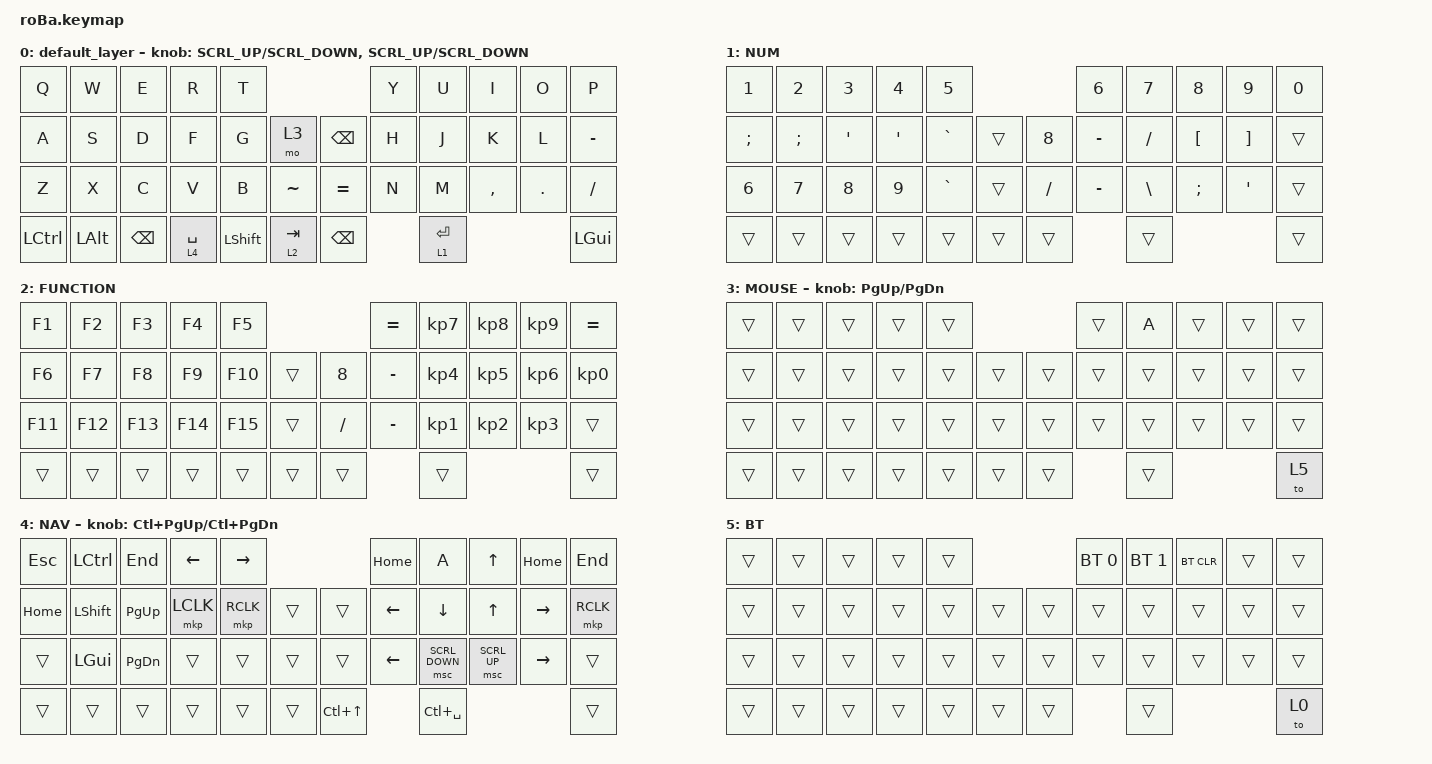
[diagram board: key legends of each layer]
#include <behaviors.dtsi>
#include <dt-bindings/zmk/bt.h>
#include <dt-bindings/zmk/keys.h>
#include <dt-bindings/zmk/pointing.h>

&mt {
    flavor = "balanced";
    quick-tap-ms = <0>;
};

&trackball {
    scroll-layers = <3>;

    // arrows {
    //     layers = <3>;
    //     bindings =
    //         <&kp RIGHT_ARROW>,
    //         <&kp LEFT_ARROW>,
    //         <&kp UP_ARROW>,
    //         <&kp DOWN_ARROW>;

    //     tick = <10>;
    //     wait-ms = <5>;
    //     tap-ms = <5>;
    // };
};

/ {
    combos {
        compatible = "zmk,combos";

        tab {
            bindings = <&kp TAB>;
            key-positions = <11 12>;
        };

        shift_tab {
            bindings = <&kp LS(TAB)>;
            key-positions = <12 13>;
        };

        muhennkann {
            bindings = <&to_layer_0 INT_MUHENKAN>;
            key-positions = <11 10>;
        };

        double_quotation {
            bindings = <&kp DOUBLE_QUOTES>;
            key-positions = <20 21>;
        };

        eq {
            bindings = <&kp EQUAL>;
            key-positions = <24 25>;
        };
    };

    macros {
        to_layer_0: to_layer_0 {
            compatible = "zmk,behavior-macro-one-param";
            #binding-cells = <1>;
            bindings = <&to 0 &macro_param_1to1 &kp MACRO_PLACEHOLDER>;
            label = "TO_LAYER_0";
        };
    };

    behaviors {
        encoder_scroll: encoder_scroll {
            compatible = "zmk,behavior-sensor-rotate-var";
            #sensor-binding-cells = <2>;
            bindings = <&msc>, <&msc>;
        };
    };

    keymap {
        compatible = "zmk,keymap";

        default_layer {
            bindings = <
&kp Q     &kp W         &kp E          &kp R      &kp T                                      &kp Y          &kp U      &kp I            &kp O    &kp P
&kp A     &kp S         &kp D          &kp F      &kp G        &mo 3         &kp BACKSPACE    &kp H          &kp J      &kp K            &kp L    &kp MINUS
&kp Z      &kp X         &kp C          &kp V      &kp B        &kp TILDE     &kp EQUAL        &kp N          &kp M      &kp COMMA        &kp DOT  &kp SLASH
&kp LCTRL  &kp LEFT_ALT  &kp BACKSPACE  &lt 4 SPACE  &kp LEFT_SHIFT  &lt 2 TAB  &kp BACKSPACE  &lt 1 ENTER                             &kp LEFT_GUI
            >;

            sensor-bindings = <&encoder_scroll SCRL_UP SCRL_DOWN &encoder_scroll SCRL_UP SCRL_DOWN>;
        };

        NUM {
            bindings = <
&kp NUMBER_1  &kp NUMBER_2  &kp NUMBER_3  &kp NUMBER_4  &kp NUMBER_5                         &kp NUMBER_6  &kp NUMBER_7  &kp NUMBER_8  &kp NUMBER_9      &kp NUMBER_0
&kp SEMICOLON  &kp SEMICOLON  &kp SQT       &kp SQT       &kp GRAVE  &trans      &kp NUMBER_8  &kp MINUS     &kp SLASH     &kp LEFT_BRACKET &kp RIGHT_BRACKET &trans
&kp NUMBER_6  &kp NUMBER_7  &kp NUMBER_8  &kp NUMBER_9  &kp GRAVE  &trans      &kp SLASH     &kp MINUS     &kp BACKSLASH &kp SEMICOLON    &kp SQT           &trans
&trans         &trans         &trans         &trans         &trans      &trans      &trans         &trans                                                     &trans
            >;
        };

        FUNCTION {
            bindings = <
&kp F1    &kp F2    &kp F3    &kp F4    &kp F5                       &kp EQUAL  &kp KP_NUMBER_7  &kp KP_NUMBER_8  &kp KP_NUMBER_9  &kp EQUAL
&kp F6    &kp F7    &kp F8    &kp F9    &kp F10  &trans      &kp NUMBER_8  &kp MINUS  &kp KP_NUMBER_4  &kp KP_NUMBER_5  &kp KP_NUMBER_6  &kp KP_NUMBER_0
&kp F11   &kp F12   &kp F13   &kp F14   &kp F15  &trans      &kp SLASH     &kp MINUS  &kp KP_NUMBER_1  &kp KP_NUMBER_2  &kp KP_NUMBER_3  &trans
&trans     &trans     &trans     &trans     &trans    &trans      &trans         &trans                                                       &trans
            >;
        };

        MOUSE {
            bindings = <
&trans  &trans  &trans  &trans  &trans                 &trans  &kp A  &trans  &trans  &trans
&trans  &trans  &trans  &trans  &trans  &trans      &trans  &trans  &trans  &trans  &trans  &trans
&trans  &trans  &trans  &trans  &trans  &trans      &trans  &trans  &trans  &trans  &trans  &trans
&trans  &trans  &trans  &trans  &trans  &trans      &trans  &trans                          &to 5
            >;

            sensor-bindings = <&inc_dec_kp PG_UP PAGE_DOWN>;
        };

        NAV {
            bindings = <
&kp ESCAPE  &kp LEFT_CONTROL  &kp END      &kp LEFT_ARROW  &kp RIGHT_ARROW                         &kp HOME        &kp A           &kp UP_ARROW    &kp HOME         &kp END
&kp HOME    &kp LEFT_SHIFT    &kp PAGE_UP  &mkp LCLK       &mkp RCLK        &trans      &trans       &kp LEFT_ARROW  &kp DOWN_ARROW  &kp UP_ARROW    &kp RIGHT_ARROW  &mkp RCLK
&trans       &kp LEFT_GUI      &kp PAGE_DOWN &trans          &trans            &trans      &trans       &kp LEFT_ARROW  &msc SCRL_DOWN  &msc SCRL_UP    &kp RIGHT_ARROW  &trans
&trans       &trans             &trans        &trans           &trans            &trans             &kp LC(UP_ARROW)  &kp LC(SPACE)                           &trans
            >;

            sensor-bindings = <&inc_dec_kp LC(PAGE_UP) LC(PAGE_DOWN)>;
        };

        BT {
            bindings = <
&trans  &trans  &trans  &trans  &trans                 &bt BT_SEL 0  &bt BT_SEL 1  &bt BT_CLR  &trans  &trans
&trans  &trans  &trans  &trans  &trans  &trans      &trans           &trans         &trans       &trans  &trans  &trans
&trans  &trans  &trans  &trans  &trans  &trans      &trans           &trans         &trans       &trans  &trans  &trans
&trans  &trans  &trans  &trans  &trans  &trans      &trans           &trans                          &to 0
            >;
        };
    };
};
